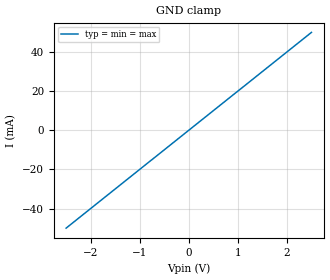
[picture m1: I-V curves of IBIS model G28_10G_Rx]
|   LSI G28 10G IBIS-AMI Receiver Model
[IBIS Ver]   5.0
[Disclaimer] THIS IBIS MODEL HAS BEEN CREATED BY THE SIGNAL
             INTEGRITY SOFTWARE SPICE WRAPPING PROCESS.
             THESE IBIS MODELS AREPROVIDED "AS IS" WITH NO
             WARRANTY WHATSOEVER AND SIGNAL INTEGRITY SOFTWARE
             SPECIFICALLY DISCLAIMS ANY IMPLIED WARRANTIES OF
             MERCHANTABILITY, FITNESS FOR A PARTICULAR PURPOSE,
             OR AGAINST INFRINGEMENT.
[File Name]  cw108052_28nm_10g_rx.ibs
[File Rev]   2.0
[Date]   10/26/2012
[Source]   Signal Integrity Software
[Notes]   Revision History
Rev 0.1 - 04/11/2012 Initial Release
Rev 1.0 - 06/15/2012 linear model
Rev 1.9 - 09/07/2012 SiSoft
   - Preliminary RX AMI model supports both statistical and time domain.
   - File passes ibischk v5.0.7 with 0 errors and 0 warnings.
Rev 2.0 - 10/26/2012 SiSoft
   - Final RX AMI model supports both statistical and time domain.
   - File passes ibischk v5.0.7 with 0 errors and 0 warnings.
   - This IBIS AMI model has been certified by Signal Integrity
   Software Inc. (SiSoft) on 10/26/2012.
   - See IBIS model certification report for more details:
   LSI_G28_10G_Rx_AMI_Model_Certification_Report_r1p0.pdf
[Copyright]  Copyright 2012, Signal Integrity Software, All Rights Reserved.
|   COMPONENT: CW108052_RX
[Component] CW108052_RX
[Manufacturer] LSI
[Package]
|| External package model supplied by LSI
R_pkg 0.001m   NA   NA
L_pkg 0.001nH  NA   NA
C_pkg 0.001pF  NA   NA
[Pin] signal_name   model_name   R_pin L_pin  C_pin
1p   G28_10G_Rx   G28_10G_Rx
1n   G28_10G_Rx_L   G28_10G_Rx
[Diff_Pin] inv_pin vdiff tdelay_typ tdelay_min tdelay_max
1p   1n   0.1V  NA   NA   NA
| Models and submodels in the file (1): G28_10G_Rx (Input)
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|   MODEL: G28_10G_Rx
[Model]   G28_10G_Rx
Model_type Input
C_comp 0.380p 0.380p 0.380p
Vinh = 0.55
Vinl = 0.45
[Algorithmic Model]
Executable Linux_gcc4.1.1_32 G28_10G_Rx.linux.so g28_10g_rx.ami
Executable Windows_VisualStudio7.1.3088_32 G28_10G_Rx.dll g28_10g_rx.ami
[End Algorithmic Model]
[Temperature Range] 65 -40 125
[Voltage Range] 0.9 0.81 0.945
[GND Clamp]
-2.5V     -50mA      -50mA      -50mA
0V        0A         0A         0A
2.5V      50mA       50mA       50mA
